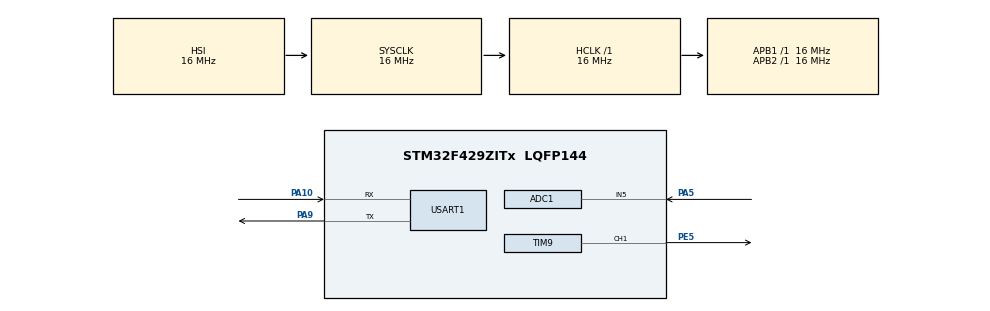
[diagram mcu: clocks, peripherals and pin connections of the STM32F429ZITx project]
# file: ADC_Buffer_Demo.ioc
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ADC1.Channel-1\#ChannelRegularConversion=ADC_CHANNEL_5
ADC1.ExternalTrigConv=ADC_EXTERNALTRIGCONV_T2_TRGO
ADC1.NbrOfConversionFlag=1
ADC1.Rank-1\#ChannelRegularConversion=1
ADC1.SamplingTime-1\#ChannelRegularConversion=ADC_SAMPLETIME_3CYCLES
ADC1.master=1
Mcu.Family=STM32F4
Mcu.Name=STM32F429ZITx
Mcu.Package=LQFP144
NVIC.ADC_IRQn=true\:0\:0\:false\:false\:true\:true\:true\:true
NVIC.PriorityGroup=NVIC_PRIORITYGROUP_4
PA10.Mode=Asynchronous
PA10.Signal=USART1_RX
PA5.Signal=ADCx_IN5
PA9.Mode=Asynchronous
PA9.Signal=USART1_TX
PE5.Signal=S_TIM9_CH1
PH0/OSC_IN.Mode=HSE-External-Oscillator
PH0/OSC_IN.Signal=RCC_OSC_IN
PH1/OSC_OUT.Mode=HSE-External-Oscillator
PH1/OSC_OUT.Signal=RCC_OSC_OUT
ProjectManager.HeapSize=0x200
ProjectManager.StackSize=0x400
ProjectManager.TargetToolchain=STM32CubeIDE
RCC.48MHZClocksFreq_Value=48000000
RCC.AHBFreq_Value=16000000
RCC.APB1Freq_Value=16000000
RCC.APB1TimCLKDivider=1
RCC.APB1TimFreq_Value=16000000
RCC.APB2Freq_Value=16000000
RCC.APB2TimFreq_Value=16000000
RCC.CortexFreq_Value=16000000
RCC.HCLKFreq_Value=16000000
RCC.HSE_VALUE=25000000
RCC.HSI_VALUE=16000000
RCC.LSE_VALUE=32768
RCC.SYSCLKFreq_VALUE=16000000
RCC.VCOOutputFreq_Value=192000000
SH.ADCx_IN5.0=ADC1_IN5,IN5
SH.S_TIM9_CH1.0=TIM9_CH1,PWM Generation1 CH1
TIM2.AutoReloadPreload=TIM_AUTORELOAD_PRELOAD_ENABLE
TIM2.Channel-PWM\ Generation1\ No\ Output=TIM_CHANNEL_1
TIM2.Period=2000-1
TIM2.TIM_MasterOutputTrigger=TIM_TRGO_UPDATE
TIM9.AutoReloadPreload=TIM_AUTORELOAD_PRELOAD_ENABLE
TIM9.Channel-PWM\ Generation1\ CH1=TIM_CHANNEL_1
TIM9.Period=2000-1
USART1.VirtualMode=VM_ASYNC
VP_TIM2_VS_ClockSourceINT.Mode=Internal
VP_TIM2_VS_no_output1.Mode=PWM Generation1 No Output
VP_TIM9_VS_ClockSourceINT.Mode=Internal
board=custom

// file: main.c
/* USER CODE BEGIN Header */
/**
  ******************************************************************************
  * @file           : main.c
  * @brief          : Main program body
  ******************************************************************************
  * @attention
  *
  * Copyright (c) 2023 STMicroelectronics.
  * All rights reserved.
  *
  * This software is licensed under terms that can be found in the LICENSE file
  * in the root directory of this software component.
  * If no LICENSE file comes with this software, it is provided AS-IS.
  *
  ******************************************************************************
  */
/* USER CODE END Header */
#include "main.h"

/* USER CODE BEGIN Includes */
#include <stdio.h>
#include <stdlib.h>
#include <string.h>
/* USER CODE END Includes */

/* USER CODE BEGIN PD */
#define ADC_BUFF_LEN 20
#define UART_BUFF_LEN 128
#ifdef __GNUC__
#define PUTCHAR_PROTOTYPE int __io_putchar(int ch)
#else
#define PUTCHAR_PROTOTYPE int fputc(int ch, FILE *f)
#endif

/* USER CODE END PD */

ADC_HandleTypeDef hadc1;

TIM_HandleTypeDef htim2;
TIM_HandleTypeDef htim9;

UART_HandleTypeDef huart1;

/* USER CODE BEGIN PV */
uint32_t raw = 0;
uint32_t adc_buffer[ADC_BUFF_LEN] = {0};
uint32_t filtered = 0;
uint8_t idx = 0;
uint32_t CH1_DC = 0;
unsigned char uart_msg[UART_BUFF_LEN];
/* USER CODE END PV */

void SystemClock_Config(void);
static void MX_GPIO_Init(void);
static void MX_ADC1_Init(void);
static void MX_TIM2_Init(void);
static void MX_USART1_UART_Init(void);
static void MX_TIM9_Init(void);
/* USER CODE BEGIN PFP */
void add_to_buff(uint32_t in, uint32_t buffer[]);
uint32_t get_average(uint32_t buffer[]);

PUTCHAR_PROTOTYPE
{
  HAL_UART_Transmit_DMA(&huart1, (uint8_t *)&ch, 1);
  return ch;
}

void add_to_buff(uint32_t in, uint32_t buffer[]){
	buffer[idx] = in;
	idx++;
	if(idx >= ADC_BUFF_LEN){
		idx = 0;
	}
	filtered = get_average(buffer);
}

uint32_t get_average(uint32_t buffer[]){
	uint32_t sum = 0;
	for(int i = 0; i < ADC_BUFF_LEN; i++){
		sum += adc_buffer[i];
	}
	return (uint32_t) sum/ADC_BUFF_LEN;
}
/* USER CODE END PFP */

int main(void)
{

  /* MCU Configuration--------------------------------------------------------*/

  /* Reset of all peripherals, Initializes the Flash interface and the Systick. */
  HAL_Init();

  /* Configure the system clock */
  SystemClock_Config();

  /* Initialize all configured peripherals */
  MX_GPIO_Init();
  MX_ADC1_Init();
  MX_TIM2_Init();
  MX_USART1_UART_Init();
  MX_TIM9_Init();
  /* USER CODE BEGIN 2 */
  if( HAL_TIM_PWM_Start(&htim9, TIM_CHANNEL_1) != HAL_OK){
	  Error_Handler();
  }
  if(HAL_ADC_Start_IT(&hadc1) != HAL_OK){
  	  Error_Handler();
    }
    if(HAL_TIM_PWM_Start(&htim2, TIM_CHANNEL_1)!= HAL_OK){
  	  Error_Handler();
    }
    sprintf(uart_msg,"%s",(unsigned char *)"Starting ADC...");
    HAL_UART_Transmit(&huart1, uart_msg, strlen(uart_msg), 100);
    //TIM9->CCR1 = 1000;
    HAL_Delay(500);
  /* USER CODE END 2 */

  /* Infinite loop */
  /* USER CODE BEGIN WHILE */
  while (1)
  {
	  TIM9->CCR1 = (uint32_t) filtered * 0.485f;
    /* USER CODE END WHILE */

  }
}

void SystemClock_Config(void)
{
  RCC_OscInitTypeDef RCC_OscInitStruct = {0};
  RCC_ClkInitTypeDef RCC_ClkInitStruct = {0};

  /** Configure the main internal regulator output voltage
  */
  __HAL_RCC_PWR_CLK_ENABLE();
  __HAL_PWR_VOLTAGESCALING_CONFIG(PWR_REGULATOR_VOLTAGE_SCALE3);

  /** Initializes the RCC Oscillators according to the specified parameters
  * in the RCC_OscInitTypeDef structure.
  */
  RCC_OscInitStruct.OscillatorType = RCC_OSCILLATORTYPE_HSI;
  RCC_OscInitStruct.HSIState = RCC_HSI_ON;
  RCC_OscInitStruct.HSICalibrationValue = RCC_HSICALIBRATION_DEFAULT;
  RCC_OscInitStruct.PLL.PLLState = RCC_PLL_NONE;
  if (HAL_RCC_OscConfig(&RCC_OscInitStruct) != HAL_OK)
  {
    Error_Handler();
  }

  /** Initializes the CPU, AHB and APB buses clocks
  */
  RCC_ClkInitStruct.ClockType = RCC_CLOCKTYPE_HCLK|RCC_CLOCKTYPE_SYSCLK
                              |RCC_CLOCKTYPE_PCLK1|RCC_CLOCKTYPE_PCLK2;
  RCC_ClkInitStruct.SYSCLKSource = RCC_SYSCLKSOURCE_HSI;
  RCC_ClkInitStruct.AHBCLKDivider = RCC_SYSCLK_DIV1;
  RCC_ClkInitStruct.APB1CLKDivider = RCC_HCLK_DIV1;
  RCC_ClkInitStruct.APB2CLKDivider = RCC_HCLK_DIV1;

  if (HAL_RCC_ClockConfig(&RCC_ClkInitStruct, FLASH_LATENCY_0) != HAL_OK)
  {
    Error_Handler();
  }
}

static void MX_ADC1_Init(void)
{

  ADC_ChannelConfTypeDef sConfig = {0};

  /** Configure the global features of the ADC (Clock, Resolution, Data Alignment and number of conversion)
  */
  hadc1.Instance = ADC1;
  hadc1.Init.ClockPrescaler = ADC_CLOCK_SYNC_PCLK_DIV2;
  hadc1.Init.Resolution = ADC_RESOLUTION_12B;
  hadc1.Init.ScanConvMode = DISABLE;
  hadc1.Init.ContinuousConvMode = DISABLE;
  hadc1.Init.DiscontinuousConvMode = DISABLE;
  hadc1.Init.ExternalTrigConvEdge = ADC_EXTERNALTRIGCONVEDGE_RISING;
  hadc1.Init.ExternalTrigConv = ADC_EXTERNALTRIGCONV_T2_TRGO;
  hadc1.Init.DataAlign = ADC_DATAALIGN_RIGHT;
  hadc1.Init.NbrOfConversion = 1;
  hadc1.Init.DMAContinuousRequests = DISABLE;
  hadc1.Init.EOCSelection = ADC_EOC_SINGLE_CONV;
  if (HAL_ADC_Init(&hadc1) != HAL_OK)
  {
    Error_Handler();
  }

  /** Configure for the selected ADC regular channel its corresponding rank in the sequencer and its sample time.
  */
  sConfig.Channel = ADC_CHANNEL_5;
  sConfig.Rank = 1;
  sConfig.SamplingTime = ADC_SAMPLETIME_3CYCLES;
  if (HAL_ADC_ConfigChannel(&hadc1, &sConfig) != HAL_OK)
  {
    Error_Handler();
  }

}

static void MX_TIM2_Init(void)
{

  TIM_ClockConfigTypeDef sClockSourceConfig = {0};
  TIM_MasterConfigTypeDef sMasterConfig = {0};
  TIM_OC_InitTypeDef sConfigOC = {0};

  htim2.Instance = TIM2;
  htim2.Init.Prescaler = 0;
  htim2.Init.CounterMode = TIM_COUNTERMODE_UP;
  htim2.Init.Period = 2000-1;
  htim2.Init.ClockDivision = TIM_CLOCKDIVISION_DIV1;
  htim2.Init.AutoReloadPreload = TIM_AUTORELOAD_PRELOAD_ENABLE;
  if (HAL_TIM_Base_Init(&htim2) != HAL_OK)
  {
    Error_Handler();
  }
  sClockSourceConfig.ClockSource = TIM_CLOCKSOURCE_INTERNAL;
  if (HAL_TIM_ConfigClockSource(&htim2, &sClockSourceConfig) != HAL_OK)
  {
    Error_Handler();
  }
  if (HAL_TIM_PWM_Init(&htim2) != HAL_OK)
  {
    Error_Handler();
  }
  sMasterConfig.MasterOutputTrigger = TIM_TRGO_UPDATE;
  sMasterConfig.MasterSlaveMode = TIM_MASTERSLAVEMODE_DISABLE;
  if (HAL_TIMEx_MasterConfigSynchronization(&htim2, &sMasterConfig) != HAL_OK)
  {
    Error_Handler();
  }
  sConfigOC.OCMode = TIM_OCMODE_PWM1;
  sConfigOC.Pulse = 0;
  sConfigOC.OCPolarity = TIM_OCPOLARITY_HIGH;
  sConfigOC.OCFastMode = TIM_OCFAST_DISABLE;
  if (HAL_TIM_PWM_ConfigChannel(&htim2, &sConfigOC, TIM_CHANNEL_1) != HAL_OK)
  {
    Error_Handler();
  }

}

static void MX_TIM9_Init(void)
{

  TIM_ClockConfigTypeDef sClockSourceConfig = {0};
  TIM_OC_InitTypeDef sConfigOC = {0};

  htim9.Instance = TIM9;
  htim9.Init.Prescaler = 0;
  htim9.Init.CounterMode = TIM_COUNTERMODE_UP;
  htim9.Init.Period = 2000-1;
  htim9.Init.ClockDivision = TIM_CLOCKDIVISION_DIV1;
  htim9.Init.AutoReloadPreload = TIM_AUTORELOAD_PRELOAD_ENABLE;
  if (HAL_TIM_Base_Init(&htim9) != HAL_OK)
  {
    Error_Handler();
  }
  sClockSourceConfig.ClockSource = TIM_CLOCKSOURCE_INTERNAL;
  if (HAL_TIM_ConfigClockSource(&htim9, &sClockSourceConfig) != HAL_OK)
  {
    Error_Handler();
  }
  if (HAL_TIM_PWM_Init(&htim9) != HAL_OK)
  {
    Error_Handler();
  }
  sConfigOC.OCMode = TIM_OCMODE_PWM1;
  sConfigOC.Pulse = 0;
  sConfigOC.OCPolarity = TIM_OCPOLARITY_HIGH;
  sConfigOC.OCFastMode = TIM_OCFAST_DISABLE;
  if (HAL_TIM_PWM_ConfigChannel(&htim9, &sConfigOC, TIM_CHANNEL_1) != HAL_OK)
  {
    Error_Handler();
  }
  HAL_TIM_MspPostInit(&htim9);

}

static void MX_USART1_UART_Init(void)
{

  huart1.Instance = USART1;
  huart1.Init.BaudRate = 115200;
  huart1.Init.WordLength = UART_WORDLENGTH_8B;
  huart1.Init.StopBits = UART_STOPBITS_1;
  huart1.Init.Parity = UART_PARITY_NONE;
  huart1.Init.Mode = UART_MODE_TX_RX;
  huart1.Init.HwFlowCtl = UART_HWCONTROL_NONE;
  huart1.Init.OverSampling = UART_OVERSAMPLING_16;
  if (HAL_UART_Init(&huart1) != HAL_OK)
  {
    Error_Handler();
  }

}

static void MX_GPIO_Init(void)
{

  /* GPIO Ports Clock Enable */
  __HAL_RCC_GPIOE_CLK_ENABLE();
  __HAL_RCC_GPIOH_CLK_ENABLE();
  __HAL_RCC_GPIOA_CLK_ENABLE();

}

/* USER CODE BEGIN 4 */
void HAL_ADC_ConvCpltCallback(ADC_HandleTypeDef* hadc){
	raw = HAL_ADC_GetValue(&hadc1);
	add_to_buff(raw, adc_buffer);
	sprintf(uart_msg,"%hu\t%hu\r\n",raw,filtered);
	HAL_UART_Transmit(&huart1, uart_msg, strlen(uart_msg), 100);
}
/* USER CODE END 4 */

void Error_Handler(void)
{
  __disable_irq();
  while (1)
  {
  }
}
